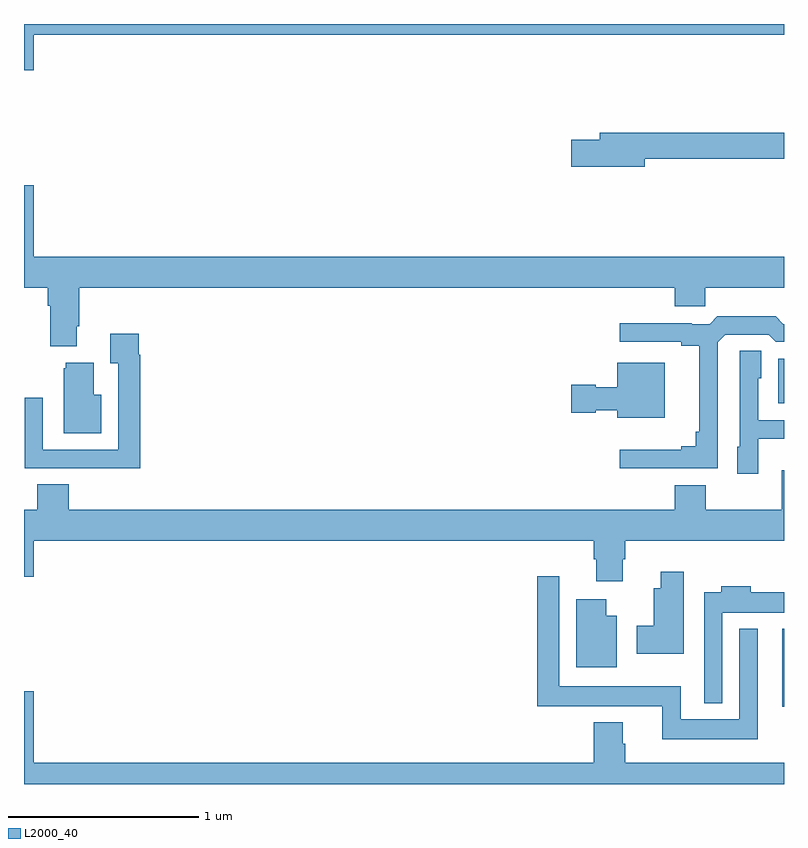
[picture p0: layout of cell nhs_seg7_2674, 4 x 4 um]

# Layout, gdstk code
import gdstk
lib = gdstk.Library(unit=1e-6, precision=1e-09)
def R(c, l, rs):  # rectangles x0, y0, x1, y1
    for r in rs: c.add(gdstk.rectangle(r[:2], r[2:], *l))
def P(c, l, *ps):  # polygons
    for p in ps: c.add(gdstk.Polygon(p, *l))
L2000_40 = (2000, 40)

nhs_seg7_2674 = lib.new_cell('nhs_seg7_2674')
R(nhs_seg7_2674, L2000_40, [(288.992,1002.406,289,1002.817), (288.971,1004.003,289,1004.239)])
P(nhs_seg7_2674, L2000_40, [(289,1006),(285,1006),(285,1005.756),(285.052,1005.756),(285.052,1005.944),(289,1005.944)],
  [(288.268,1005.292),(289,1005.292),(289,1005.428),(288.029,1005.428),(288.029,1005.392),(287.88,1005.392),(287.88,1005.25),(288.268,1005.25)],
  [(285.277,1004.41),(285.29,1004.41),(285.29,1004.612),(288.425,1004.612),(288.425,1004.514),(288.585,1004.514),(288.585,1004.612),(289,1004.612),(289,1004.776),(285.052,1004.776),(285.052,1005.151),(285,1005.151),(285,1004.612),(285.125,1004.612),(285.125,1004.516),(285.137,1004.516),(285.137,1004.303),(285.277,1004.303)],
  [(288.651,1004.325),(288.69,1004.364),(288.921,1004.364),(288.957,1004.328),(289,1004.328),(289,1004.421),(288.996,1004.421),(288.957,1004.461),(288.649,1004.461),(288.609,1004.421),(288.515,1004.421),(288.515,1004.426),(288.135,1004.426),(288.135,1004.328),(288.458,1004.328),(288.458,1004.306),(288.554,1004.306),(288.554,1003.855),(288.535,1003.855),(288.535,1003.778),(288.458,1003.778),(288.458,1003.759),(288.135,1003.759),(288.135,1003.662),(288.651,1003.662)],
  [(285.611,1004.258),(285.604,1004.258),(285.604,1004.371),(285.455,1004.371),(285.455,1004.215),(285.495,1004.215),(285.495,1003.758),(285.099,1003.758),(285.099,1004.032),(285.003,1004.032),(285.003,1003.662),(285.319,1003.662),(285.319,1003.661),(285.611,1003.661)],
  [(288.864,1003.817),(289,1003.817),(289,1003.914),(288.864,1003.914),(288.864,1004.136),(288.88,1004.136),(288.88,1004.279),(288.768,1004.279),(288.768,1003.776),(288.755,1003.776),(288.755,1003.632),(288.864,1003.632)],
  [(288.373,1004.218),(288.122,1004.218),(288.122,1004.089),(288.009,1004.089),(288.009,1004.102),(287.88,1004.102),(287.88,1003.955),(288.009,1003.955),(288.009,1003.967),(288.122,1003.967),(288.122,1003.928),(288.373,1003.928)],
  [(285.406,1004.05),(285.367,1004.05),(285.367,1004.218),(285.221,1004.218),(285.221,1004.187),(285.209,1004.187),(285.209,1003.847),(285.406,1003.847)],
  [(288.151,1003.182),(288.164,1003.182),(288.164,1003.28),(289,1003.28),(289,1003.651),(288.989,1003.651),(288.989,1003.444),(288.589,1003.444),(288.589,1003.573),(288.425,1003.573),(288.425,1003.444),(285.236,1003.444),(285.236,1003.577),(285.071,1003.577),(285.071,1003.444),(285,1003.444),(285,1003.092),(285.052,1003.092),(285.052,1003.28),(287.999,1003.28),(287.999,1003.182),(288.011,1003.182),(288.011,1003.068),(288.151,1003.068)],
  [(288.472,1003.117),(288.35,1003.117),(288.35,1003.03),(288.314,1003.03),(288.314,1002.834),(288.225,1002.834),(288.225,1002.686),(288.472,1002.686)],
  [(288.862,1002.817),(288.765,1002.817),(288.765,1002.34),(288.456,1002.34),(288.456,1002.514),(287.817,1002.514),(287.817,1003.093),(287.701,1003.093),(287.701,1002.408),(287.824,1002.408),(287.824,1002.41),(288.359,1002.41),(288.359,1002.236),(288.862,1002.236)],
  [(288.675,1002.902),(289,1002.902),(289,1003.009),(288.824,1003.009),(288.824,1003.042),(288.671,1003.042),(288.671,1003.009),(288.579,1003.009),(288.579,1002.425),(288.675,1002.425)],
  [(288.121,1002.886),(288.064,1002.886),(288.064,1002.973),(287.906,1002.973),(287.906,1002.614),(288.121,1002.614)],
  [(289,1002.112),(288.164,1002.112),(288.164,1002.213),(288.151,1002.213),(288.151,1002.325),(287.999,1002.325),(287.999,1002.112),(285.052,1002.112),(285.052,1002.487),(285,1002.487),(285,1002),(289,1002)])

lib.write_gds('nhs_seg7_2674.gds')
